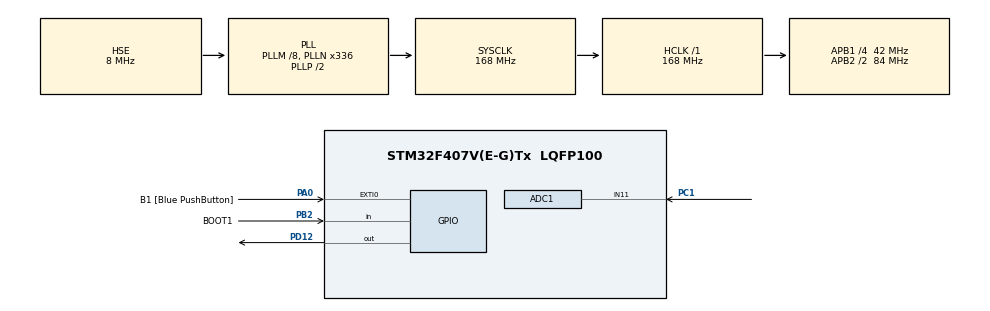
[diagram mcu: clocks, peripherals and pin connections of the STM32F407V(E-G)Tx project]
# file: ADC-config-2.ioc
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ADC1.Channel-3\#ChannelRegularConversion=ADC_CHANNEL_11
ADC1.DMAContinuousRequests=ENABLE
ADC1.ExternalTrigConv=ADC_EXTERNALTRIGCONV_T3_TRGO
ADC1.NbrOfConversionFlag=1
ADC1.Rank-3\#ChannelRegularConversion=1
ADC1.SamplingTime-3\#ChannelRegularConversion=ADC_SAMPLETIME_3CYCLES
ADC1.master=1
Dma.ADC1.0.Direction=DMA_PERIPH_TO_MEMORY
Dma.ADC1.0.FIFOMode=DMA_FIFOMODE_DISABLE
Dma.ADC1.0.Instance=DMA2_Stream0
Dma.ADC1.0.MemDataAlignment=DMA_MDATAALIGN_HALFWORD
Dma.ADC1.0.MemInc=DMA_MINC_ENABLE
Dma.ADC1.0.Mode=DMA_CIRCULAR
Dma.ADC1.0.PeriphDataAlignment=DMA_PDATAALIGN_HALFWORD
Dma.ADC1.0.PeriphInc=DMA_PINC_DISABLE
Dma.ADC1.0.Priority=DMA_PRIORITY_VERY_HIGH
Dma.Request0=ADC1
Mcu.Family=STM32F4
Mcu.Name=STM32F407V(E-G)Tx
Mcu.Package=LQFP100
NVIC.DMA2_Stream0_IRQn=true\:0\:0\:false\:false\:true\:false\:true
NVIC.PriorityGroup=NVIC_PRIORITYGROUP_0
PA0-WKUP.GPIO_Label=B1 [Blue PushButton]
PA0-WKUP.GPIO_ModeDefaultEXTI=GPIO_MODE_EVT_RISING
PA0-WKUP.GPIO_PuPd=GPIO_NOPULL
PA0-WKUP.Signal=GPXTI0
PA13.GPIO_Label=SWDIO
PA13.Mode=Serial_Wire
PA13.Signal=SYS_JTMS-SWDIO
PA14.GPIO_Label=SWCLK
PA14.Mode=Serial_Wire
PA14.Signal=SYS_JTCK-SWCLK
PB2.GPIO_Label=BOOT1
PB2.GPIO_Mode=GPIO_MODE_INPUT
PB2.GPIO_PuPd=GPIO_NOPULL
PB2.Signal=GPIO_Input
PB3.GPIO_Label=SWO
PB3.Signal=SYS_JTDO-SWO
PC1.GPIO_Mode=GPIO_MODE_ANALOG
PC1.Signal=ADCx_IN11
PC14-OSC32_IN.GPIO_Label=PC14-OSC32_IN
PC14-OSC32_IN.Mode=LSE-External-Oscillator
PC14-OSC32_IN.Signal=RCC_OSC32_IN
PC15-OSC32_OUT.GPIO_Label=PC15-OSC32_OUT
PC15-OSC32_OUT.Mode=LSE-External-Oscillator
PC15-OSC32_OUT.Signal=RCC_OSC32_OUT
PD12.Signal=GPIO_Output
PH0-OSC_IN.GPIO_Label=PH0-OSC_IN
PH0-OSC_IN.Mode=HSE-External-Oscillator
PH0-OSC_IN.Signal=RCC_OSC_IN
PH1-OSC_OUT.GPIO_Label=PH1-OSC_OUT
PH1-OSC_OUT.Mode=HSE-External-Oscillator
PH1-OSC_OUT.Signal=RCC_OSC_OUT
ProjectManager.HeapSize=0x200
ProjectManager.StackSize=0x400
ProjectManager.TargetToolchain=STM32CubeIDE
RCC.48MHZClocksFreq_Value=48000000
RCC.AHBFreq_Value=168000000
RCC.APB1CLKDivider=RCC_HCLK_DIV4
RCC.APB1Freq_Value=42000000
RCC.APB1TimFreq_Value=84000000
RCC.APB2CLKDivider=RCC_HCLK_DIV2
RCC.APB2Freq_Value=84000000
RCC.APB2TimFreq_Value=168000000
RCC.CortexFreq_Value=168000000
RCC.HCLKFreq_Value=168000000
RCC.HSE_VALUE=8000000
RCC.HSI_VALUE=16000000
RCC.PLLM=8
RCC.PLLN=336
RCC.PLLQ=7
RCC.PLLSourceVirtual=RCC_PLLSOURCE_HSE
RCC.SYSCLKFreq_VALUE=168000000
RCC.SYSCLKSource=RCC_SYSCLKSOURCE_PLLCLK
RCC.VCOOutputFreq_Value=336000000
SH.ADCx_IN11.0=ADC1_IN11,IN11
TIM3.Channel-PWM\ Generation1\ No\ Output=TIM_CHANNEL_1
TIM3.Period=20
TIM3.Prescaler=4
TIM3.TIM_MasterOutputTrigger=TIM_TRGO_UPDATE
VP_TIM3_VS_ClockSourceINT.Mode=Internal
VP_TIM3_VS_no_output1.Mode=PWM Generation1 No Output
board=STM32F407G-DISC1

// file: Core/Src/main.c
/* USER CODE BEGIN Header */
/**
  ******************************************************************************
  * @file           : main.c
  * @brief          : Main program body
  ******************************************************************************
  * @attention
  *
  * <h2><center>&copy; Copyright (c) 2021 STMicroelectronics.
  * All rights reserved.</center></h2>
  *
  * This software component is licensed by ST under Ultimate Liberty license
  * SLA0044, the "License"; You may not use this file except in compliance with
  * the License. You may obtain a copy of the License at:
  *                             www.st.com/SLA0044
  *
  ******************************************************************************
  */
/* USER CODE END Header */
#include "main.h"

/* USER CODE BEGIN PD */
#define ADC_BUFF_LEN	1024
#define  DMA_BUFF_LEN	16
/* USER CODE END PD */

ADC_HandleTypeDef hadc1;
DMA_HandleTypeDef hdma_adc1;

TIM_HandleTypeDef htim3;

/* USER CODE BEGIN PV */
uint16_t dma_buff[DMA_BUFF_LEN];
uint16_t adc_data[ADC_BUFF_LEN];
uint16_t adc_data_counter = 0;
/* USER CODE END PV */

void SystemClock_Config(void);
static void MX_GPIO_Init(void);
static void MX_ADC1_Init(void);
static void MX_DMA_Init(void);
static void MX_TIM3_Init(void);

int main(void)
{

  /* MCU Configuration--------------------------------------------------------*/

  /* Reset of all peripherals, Initializes the Flash interface and the Systick. */
  HAL_Init();

  /* Configure the system clock */
  SystemClock_Config();

  /* Initialize all configured peripherals */
  MX_GPIO_Init();
  MX_DMA_Init();
  MX_ADC1_Init();
  MX_TIM3_Init();
  /* USER CODE BEGIN 2 */

//  HAL_ADC_Start_IT(&hadc1);
  HAL_ADC_Start_DMA(&hadc1, &dma_buff, 16);
  HAL_TIM_Base_Start(&htim3);

  /* USER CODE END 2 */

  /* Infinite loop */
  while (1)
  {

  }
}

void SystemClock_Config(void)
{
  RCC_OscInitTypeDef RCC_OscInitStruct = {0};
  RCC_ClkInitTypeDef RCC_ClkInitStruct = {0};

  /** Configure the main internal regulator output voltage
  */
  __HAL_RCC_PWR_CLK_ENABLE();
  __HAL_PWR_VOLTAGESCALING_CONFIG(PWR_REGULATOR_VOLTAGE_SCALE1);
  /** Initializes the RCC Oscillators according to the specified parameters
  * in the RCC_OscInitTypeDef structure.
  */
  RCC_OscInitStruct.OscillatorType = RCC_OSCILLATORTYPE_HSE;
  RCC_OscInitStruct.HSEState = RCC_HSE_ON;
  RCC_OscInitStruct.PLL.PLLState = RCC_PLL_ON;
  RCC_OscInitStruct.PLL.PLLSource = RCC_PLLSOURCE_HSE;
  RCC_OscInitStruct.PLL.PLLM = 8;
  RCC_OscInitStruct.PLL.PLLN = 336;
  RCC_OscInitStruct.PLL.PLLP = RCC_PLLP_DIV2;
  RCC_OscInitStruct.PLL.PLLQ = 7;
  if (HAL_RCC_OscConfig(&RCC_OscInitStruct) != HAL_OK)
  {
    Error_Handler();
  }
  /** Initializes the CPU, AHB and APB buses clocks
  */
  RCC_ClkInitStruct.ClockType = RCC_CLOCKTYPE_HCLK|RCC_CLOCKTYPE_SYSCLK
                              |RCC_CLOCKTYPE_PCLK1|RCC_CLOCKTYPE_PCLK2;
  RCC_ClkInitStruct.SYSCLKSource = RCC_SYSCLKSOURCE_PLLCLK;
  RCC_ClkInitStruct.AHBCLKDivider = RCC_SYSCLK_DIV1;
  RCC_ClkInitStruct.APB1CLKDivider = RCC_HCLK_DIV4;
  RCC_ClkInitStruct.APB2CLKDivider = RCC_HCLK_DIV2;

  if (HAL_RCC_ClockConfig(&RCC_ClkInitStruct, FLASH_LATENCY_5) != HAL_OK)
  {
    Error_Handler();
  }
}

static void MX_ADC1_Init(void)
{

  ADC_ChannelConfTypeDef sConfig = {0};

  /** Configure the global features of the ADC (Clock, Resolution, Data Alignment and number of conversion)
  */
  hadc1.Instance = ADC1;
  hadc1.Init.ClockPrescaler = ADC_CLOCK_SYNC_PCLK_DIV4;
  hadc1.Init.Resolution = ADC_RESOLUTION_12B;
  hadc1.Init.ScanConvMode = DISABLE;
  hadc1.Init.ContinuousConvMode = DISABLE;
  hadc1.Init.DiscontinuousConvMode = DISABLE;
  hadc1.Init.ExternalTrigConvEdge = ADC_EXTERNALTRIGCONVEDGE_RISING;
  hadc1.Init.ExternalTrigConv = ADC_EXTERNALTRIGCONV_T3_TRGO;
  hadc1.Init.DataAlign = ADC_DATAALIGN_RIGHT;
  hadc1.Init.NbrOfConversion = 1;
  hadc1.Init.DMAContinuousRequests = ENABLE;
  hadc1.Init.EOCSelection = ADC_EOC_SINGLE_CONV;
  if (HAL_ADC_Init(&hadc1) != HAL_OK)
  {
    Error_Handler();
  }
  /** Configure for the selected ADC regular channel its corresponding rank in the sequencer and its sample time.
  */
  sConfig.Channel = ADC_CHANNEL_11;
  sConfig.Rank = 1;
  sConfig.SamplingTime = ADC_SAMPLETIME_3CYCLES;
  if (HAL_ADC_ConfigChannel(&hadc1, &sConfig) != HAL_OK)
  {
    Error_Handler();
  }

}

static void MX_TIM3_Init(void)
{

  TIM_ClockConfigTypeDef sClockSourceConfig = {0};
  TIM_MasterConfigTypeDef sMasterConfig = {0};
  TIM_OC_InitTypeDef sConfigOC = {0};

  htim3.Instance = TIM3;
  htim3.Init.Prescaler = 4;
  htim3.Init.CounterMode = TIM_COUNTERMODE_UP;
  htim3.Init.Period = 20;
  htim3.Init.ClockDivision = TIM_CLOCKDIVISION_DIV1;
  htim3.Init.AutoReloadPreload = TIM_AUTORELOAD_PRELOAD_DISABLE;
  if (HAL_TIM_Base_Init(&htim3) != HAL_OK)
  {
    Error_Handler();
  }
  sClockSourceConfig.ClockSource = TIM_CLOCKSOURCE_INTERNAL;
  if (HAL_TIM_ConfigClockSource(&htim3, &sClockSourceConfig) != HAL_OK)
  {
    Error_Handler();
  }
  if (HAL_TIM_PWM_Init(&htim3) != HAL_OK)
  {
    Error_Handler();
  }
  sMasterConfig.MasterOutputTrigger = TIM_TRGO_UPDATE;
  sMasterConfig.MasterSlaveMode = TIM_MASTERSLAVEMODE_DISABLE;
  if (HAL_TIMEx_MasterConfigSynchronization(&htim3, &sMasterConfig) != HAL_OK)
  {
    Error_Handler();
  }
  sConfigOC.OCMode = TIM_OCMODE_PWM1;
  sConfigOC.Pulse = 0;
  sConfigOC.OCPolarity = TIM_OCPOLARITY_HIGH;
  sConfigOC.OCFastMode = TIM_OCFAST_DISABLE;
  if (HAL_TIM_PWM_ConfigChannel(&htim3, &sConfigOC, TIM_CHANNEL_1) != HAL_OK)
  {
    Error_Handler();
  }

}

static void MX_DMA_Init(void)
{

  /* DMA controller clock enable */
  __HAL_RCC_DMA2_CLK_ENABLE();

  /* DMA interrupt init */
  /* DMA2_Stream0_IRQn interrupt configuration */
  HAL_NVIC_SetPriority(DMA2_Stream0_IRQn, 0, 0);
  HAL_NVIC_EnableIRQ(DMA2_Stream0_IRQn);

}

static void MX_GPIO_Init(void)
{
  GPIO_InitTypeDef GPIO_InitStruct = {0};

  /* GPIO Ports Clock Enable */
  __HAL_RCC_GPIOC_CLK_ENABLE();
  __HAL_RCC_GPIOH_CLK_ENABLE();
  __HAL_RCC_GPIOA_CLK_ENABLE();
  __HAL_RCC_GPIOB_CLK_ENABLE();
  __HAL_RCC_GPIOD_CLK_ENABLE();

  /*Configure GPIO pin Output Level */
  HAL_GPIO_WritePin(GPIOD, GPIO_PIN_12, GPIO_PIN_RESET);

  /*Configure GPIO pin : B1_Pin */
  GPIO_InitStruct.Pin = B1_Pin;
  GPIO_InitStruct.Mode = GPIO_MODE_EVT_RISING;
  GPIO_InitStruct.Pull = GPIO_NOPULL;
  HAL_GPIO_Init(B1_GPIO_Port, &GPIO_InitStruct);

  /*Configure GPIO pin : BOOT1_Pin */
  GPIO_InitStruct.Pin = BOOT1_Pin;
  GPIO_InitStruct.Mode = GPIO_MODE_INPUT;
  GPIO_InitStruct.Pull = GPIO_NOPULL;
  HAL_GPIO_Init(BOOT1_GPIO_Port, &GPIO_InitStruct);

  /*Configure GPIO pin : PD12 */
  GPIO_InitStruct.Pin = GPIO_PIN_12;
  GPIO_InitStruct.Mode = GPIO_MODE_OUTPUT_PP;
  GPIO_InitStruct.Pull = GPIO_NOPULL;
  GPIO_InitStruct.Speed = GPIO_SPEED_FREQ_LOW;
  HAL_GPIO_Init(GPIOD, &GPIO_InitStruct);

}

/* USER CODE BEGIN 4 */

void HAL_ADC_ConvCpltCallback(ADC_HandleTypeDef *hadc){
	if(adc_data_counter < ADC_BUFF_LEN){
		uint16_t ovs = 0;
		for(uint8_t i = 0; i < DMA_BUFF_LEN; i++){
			ovs += dma_buff[i];
		}
		adc_data[adc_data_counter] = (ovs >> 2); // 12-bit measurements -> 14-bit result
		adc_data_counter++;
	}
	else{
		HAL_GPIO_TogglePin(GPIOD, GPIO_PIN_12);
	}

}

/* USER CODE END 4 */

void Error_Handler(void)
{
}

/************************ (C) COPYRIGHT STMicroelectronics *****END OF FILE****/
